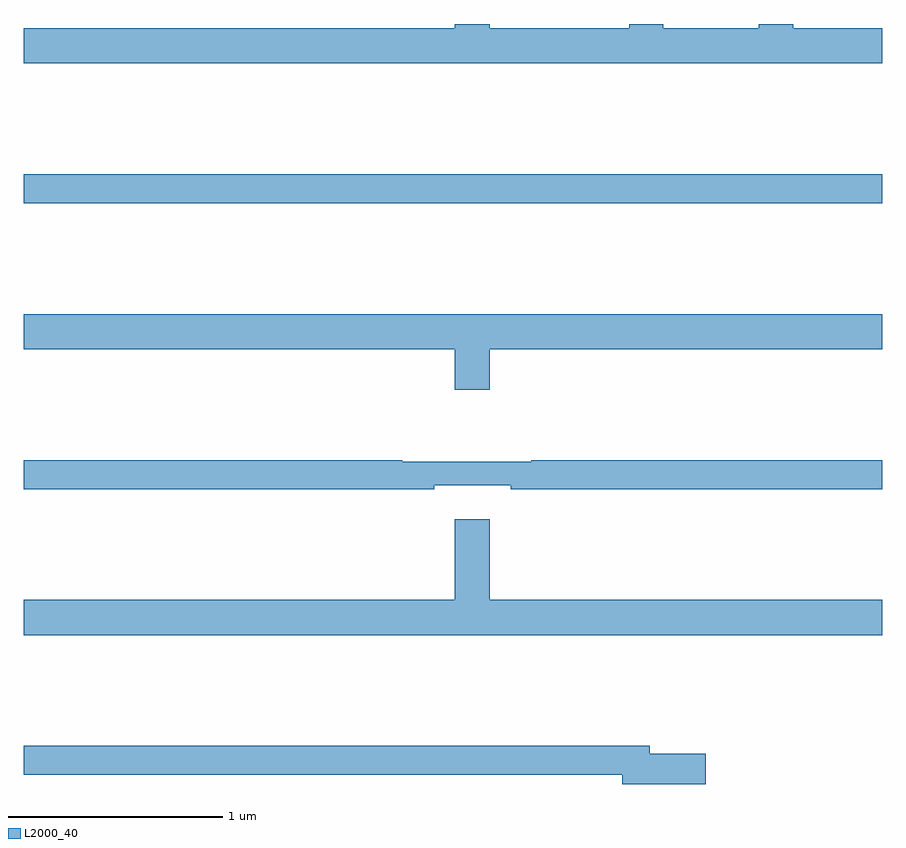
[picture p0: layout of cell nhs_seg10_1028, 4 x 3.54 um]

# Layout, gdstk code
import gdstk
lib = gdstk.Library(unit=1e-6, precision=1e-09)
def R(c, l, rs):  # rectangles x0, y0, x1, y1
    for r in rs: c.add(gdstk.rectangle(r[:2], r[2:], *l))
def P(c, l, *ps):  # polygons
    for p in ps: c.add(gdstk.Polygon(p, *l))
L2000_40 = (2000, 40)

nhs_seg10_1028 = lib.new_cell('nhs_seg10_1028')
R(nhs_seg10_1028, L2000_40, [(163,1299.664,167,1299.8)])
P(nhs_seg10_1028, L2000_40, [(167,1300.48),(166.586,1300.48),(166.586,1300.5),(166.426,1300.5),(166.426,1300.48),(165.981,1300.48),(165.981,1300.5),(165.821,1300.5),(165.821,1300.48),(165.172,1300.48),(165.172,1300.5),(165.008,1300.5),(165.008,1300.48),(163,1300.48),(163,1300.316),(167,1300.316)],
  [(165.172,1298.984),(167,1298.984),(167,1299.148),(163,1299.148),(163,1298.984),(165.008,1298.984),(165.008,1298.796),(165.172,1298.796)],
  [(164.912,1298.351),(165.268,1298.351),(165.268,1298.332),(167,1298.332),(167,1298.468),(165.364,1298.468),(165.364,1298.461),(164.764,1298.461),(164.764,1298.468),(163,1298.468),(163,1298.332),(164.912,1298.332)],
  [(167,1297.816),(165.172,1297.816),(165.172,1298.191),(165.008,1298.191),(165.008,1297.816),(163,1297.816),(163,1297.652),(167,1297.652)],
  [(166.177,1297.1),(165.916,1297.1),(165.916,1297.136),(163,1297.136),(163,1297),(165.788,1297),(165.788,1296.958),(166.177,1296.958)])

lib.write_gds('nhs_seg10_1028.gds')
